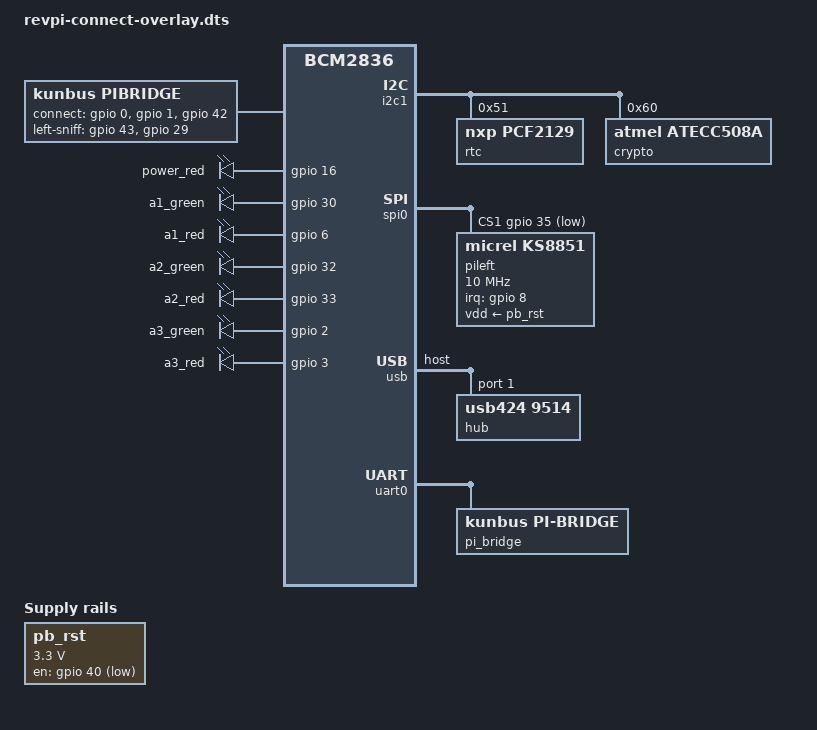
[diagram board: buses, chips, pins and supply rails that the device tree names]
/*
 * Device tree overlay for Revolution Pi by KUNBUS
 *
 * RevPi Connect
 */

/dts-v1/;
/plugin/;
#include <dt-bindings/gpio/gpio.h>
#include <dt-bindings/interrupt-controller/irq.h>
#include <dt-bindings/pinctrl/bcm2835.h>

/{
	compatible = "brcm,bcm2837";

	fragment@0 {
		target-path = "/";
		__overlay__ {
			compatible = "kunbus,revpi-connect", "brcm,bcm2837",
				     "brcm,bcm2836";

			pibridge {
				pinctrl-names = "default";
				pinctrl-0 = <&sniff_pins &connect_pins>;

				compatible = "kunbus,pibridge";
				/* X2DI, X2DO, WDTrigger */
				connect-gpios = <&gpio 0 GPIO_ACTIVE_HIGH>,
						<&gpio 1 GPIO_ACTIVE_HIGH>,
						<&gpio 42 GPIO_ACTIVE_HIGH>;
				/* Sniff pins 1A and 2A */
				left-sniff-gpios = <&gpio 43 GPIO_ACTIVE_HIGH>,
						   <&gpio 29 GPIO_ACTIVE_HIGH>;
			};
			/*
			   The reset of the KSZ8851 used for the pibridge has a
			   circuit, which keeps it pulled for up to 80ms. To
			   workaroud this issue, a regulator is used. The
			   circuit implements a reset instead of a n_reset.
			*/
			pb_rst: regulator_pbrst {
				compatible = "regulator-fixed";
				pinctrl-names = "default";
				pinctrl-0 = <&eth2_reset_pins>;
				regulator-name = "pb_rst";
				regulator-min-microvolt = <3300000>;
				regulator-max-microvolt = <3300000>;
				gpio = <&gpio 40 GPIO_ACTIVE_LOW>;
				startup-delay-us = <80000>;
			};

			leds {
				compatible = "gpio-leds";
				pinctrl-names = "default";
				pinctrl-0 = <&led_pins>;
				power_red {
					gpios = <&gpio 16 GPIO_ACTIVE_HIGH>;
					linux,default-trigger = "power_red";
				};
				a1_green {
					gpios = <&gpio 30 GPIO_ACTIVE_HIGH>;
					linux,default-trigger = "a1_green";
				};
				a1_red {
					gpios = <&gpio  6 GPIO_ACTIVE_HIGH>;
					linux,default-trigger = "a1_red";
				};
				a2_green {
					gpios = <&gpio 32 GPIO_ACTIVE_HIGH>;
					linux,default-trigger = "a2_green";
				};
				a2_red {
					gpios = <&gpio 33 GPIO_ACTIVE_HIGH>;
					linux,default-trigger = "a2_red";
				};
				a3_green {
					gpios = <&gpio 2 GPIO_ACTIVE_HIGH>;
					linux,default-trigger = "a3_green";
				};
				a3_red {
					gpios = <&gpio 3 GPIO_ACTIVE_HIGH>;
					linux,default-trigger = "a3_red";
				};
				led-act {
					status = "disabled";
				};
			};
		};
	};

	fragment@1 {
		target = <&gpio>;
		__overlay__ {
			eth2_int_pins: eth2_int_pins {
				brcm,pins     = <8>;
				brcm,function = <BCM2835_FSEL_GPIO_IN>;
				brcm,pull     = <BCM2835_PUD_OFF>;
			};
			eth2_reset_pins: eth2_reset_pins {
				brcm,pins     = <40>;
				brcm,function = <BCM2835_FSEL_GPIO_OUT>;
				brcm,pull     = <BCM2835_PUD_OFF>;
			};
			sniff_pins: sniff_pins {
				/* 1A 2A
				 * Note: In the schematics they are wrongly named
				 * PB_SNIFF1b and PB_SNIFF2b
				 */
				brcm,pins     = <43 29>;
				brcm,function = <BCM2835_FSEL_GPIO_IN>;
				brcm,pull     = <BCM2835_PUD_OFF>;
			};
			connect_pins: connect_pins {
				/* X2DI, X2DO, WDTrigger */
				brcm,pins     = <0 1 42>;
				brcm,function = <BCM2835_FSEL_GPIO_IN
						 BCM2835_FSEL_GPIO_OUT
						 BCM2835_FSEL_GPIO_OUT>;
				brcm,pull     = <BCM2835_PUD_OFF>;
			};
			led_pins: led_pins {
				/* pwr_red a1_green a1_red a2_green a2_red a3_green a3_red */
				brcm,pins     = <16 30 6 32 33 2 3>;
				brcm,function = <BCM2835_FSEL_GPIO_OUT>;
				brcm,pull     = <BCM2835_PUD_OFF>;
			};
			rs485_pins: rs485_pins {
				/* tx rx rts term */
				brcm,pins     = <14 15 17 41>;
				brcm,function = <BCM2835_FSEL_ALT0
						 BCM2835_FSEL_ALT0
						 BCM2835_FSEL_ALT3
						 BCM2835_FSEL_GPIO_OUT>;
				brcm,pull     = <BCM2835_PUD_OFF
						 BCM2835_PUD_UP
						 BCM2835_PUD_OFF
						 BCM2835_PUD_OFF>;
			};
		};
	};

	fragment@2 {
		target = <&i2c1_pins>;
		__overlay__ {
			/* sda scl */
			brcm,pins     = <44 45>;
			brcm,function = <BCM2835_FSEL_ALT2>;
			brcm,pull     = <BCM2835_PUD_OFF>;
		};
	};

	fragment@3 {
		target = <&i2c1>;
		__overlay__ {
			pinctrl-names = "default";
			pinctrl-0 = <&i2c1_pins>;
			#address-cells = <1>;
			#size-cells = <0>;
			status = "okay";

			rtc@51 {
				compatible = "nxp,pcf2129";
				reg = <0x51>;
				status = "okay";
			};

			crypto@60 {
				compatible = "atmel,atecc508a";
				reg = <0x60>;
				status = "okay";
			};
		};
	};

	fragment@4 {
		target = <&spidev1>;
		__overlay__ {
			status = "disabled";
		};
	};

	fragment@5 {
		target = <&spi0_pins>;
		__overlay__ {
			/* miso mosi clock */
			brcm,pins     = <37 38 39>;
			brcm,function = <BCM2835_FSEL_ALT0>;
			brcm,pull     = <BCM2835_PUD_OFF>;
		};
	};

	fragment@6 {
		target = <&spi0_cs_pins>;
		__overlay__ {
			brcm,pins     = <36 35>;
			brcm,function = <BCM2835_FSEL_GPIO_OUT>;
			brcm,pull     = <BCM2835_PUD_OFF>;
		};
	};

	fragment@7 {
		target = <&spi0>;
		__overlay__ {
			pinctrl-names = "default";
			pinctrl-0 = <&spi0_pins &spi0_cs_pins>;
			cs-gpios = <&gpio 36 GPIO_ACTIVE_LOW>,
				   <&gpio 35 GPIO_ACTIVE_LOW>;
			#address-cells = <1>;
			#size-cells = <0>;
			status = "okay";

			pileft: ethernet@1 {
				/* PiBridge Ethernet left */
				compatible = "micrel,ks8851";
				pinctrl-names = "default";
				pinctrl-0 = <&eth2_int_pins>;
				reg = <1>;
				spi-max-frequency = <10000000>;	/* <= 40 MHz */
				interrupt-parent = <&gpio>;
				#interrupt-cells = <2>;
				interrupts = <8 IRQ_TYPE_LEVEL_LOW>;
				vdd-supply = <&pb_rst>;
				status = "okay";
			};
		};
	};

	fragment@8 {
		target = <&usb>;
		#address-cells = <1>;
		#size-cells = <1>;
		dwc2_usb: __overlay__ {
			compatible = "brcm,bcm2835-usb";
			dr_mode = "host";
			g-np-tx-fifo-size = <32>;
			g-rx-fifo-size = <558>;
			g-tx-fifo-size = <512 512 512 512 512 256 256>;
			status = "okay";

			hub@1 {
				/* SMSC LAN9514 */
				compatible = "usb424,9514";
				reg = <1>;
				#address-cells = <1>;
				#size-cells = <0>;

				eth0: ethernet@1 {
					compatible = "usb424,ec00";
					reg = <1>;
				};

				hub@5 {
					/* SMSC LAN9512 */
					compatible = "usb424,9512";
					reg = <5>;
					#address-cells = <1>;
					#size-cells = <0>;

					eth1: ethernet@1 {
						compatible = "usb424,ec00";
						reg = <1>;
					};

					uart@2 {
						/* FTDI FT232R (front) */
						compatible = "usb403,6001";
						reg = <2>;
					};

					uart@3 {
						/* FTDI FT232R (conbridge) */
						compatible = "usb403,6001";
						reg = <3>;
					};
				};
			};
		};
	};

	fragment@9 {
		target = <&uart0>;
		__overlay__ {
			pinctrl-names = "default";
			pinctrl-0 = <&rs485_pins>;
			linux,rs485-enabled-at-boot-time;
			status = "okay";

			pi_bridge {
				compatible = "kunbus,pi-bridge";
			};
		};
	};

	__overrides__ {
		eth0_mac_hi = <&eth0>,"local-mac-address:0";
		eth0_mac_lo = <&eth0>,"local-mac-address;4";
		eth1_mac_hi = <&eth1>,"local-mac-address:0";
		eth1_mac_lo = <&eth1>,"local-mac-address;4";
		pileft_mac_hi = <&pileft>,"local-mac-address:0";
		pileft_mac_lo = <&pileft>,"local-mac-address;4";
	};
};
